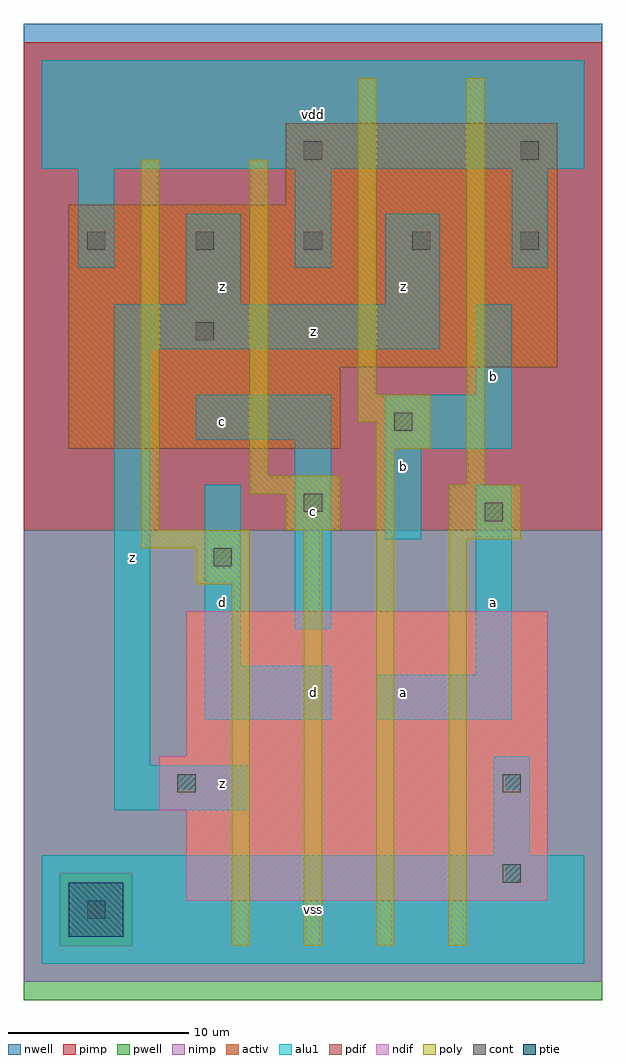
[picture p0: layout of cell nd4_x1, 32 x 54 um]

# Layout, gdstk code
import gdstk
lib = gdstk.Library(unit=1e-6, precision=1e-09)
def R(c, l, rs):  # rectangles x0, y0, x1, y1
    for r in rs: c.add(gdstk.rectangle(r[:2], r[2:], *l))
def A(c, l, x, y, w, h, nx, ny, dx, dy):  # array of equal rectangles
    R(c, l, [(x+i*dx, y+j*dy, x+i*dx+w, y+j*dy+h) for i in range(nx) for j in range(ny)])
ndif = (3, 0)
pdif = (4, 0)
ptie = (6, 0)
cont = (25, 0)
pwell = (41, 0)
nwell = (42, 0)
activ = (43, 0)
pimp = (44, 0)
nimp = (45, 0)
poly = (46, 0)
alu1 = (49, 0)

nd4_x1 = lib.new_cell('nd4_x1')
R(nd4_x1, ndif, [(8,3.5,28,8.5), (6.5,8.5,28,11.5), (8,11.5,28,19.5)])
R(nd4_x1, pdif, [(1.5,28.5,16.5,33), (1.5,33,28.5,42), (13.5,42,28.5,46.5)])
R(nd4_x1, ptie, [(1.5,1.5,4.5,4.5)])
A(nd4_x1, cont, 2.5, 39.5, 1, 1, 5, 1, 6, 0)
R(nd4_x1, cont, [(2.5,2.5,3.5,3.5), (25.5,4.5,26.5,5.5), (7.5,9.5,8.5,10.5), (25.5,9.5,26.5,10.5), (9.5,22,10.5,23), (24.5,24.5,25.5,25.5), (14.5,25,15.5,26), (19.5,29.5,20.5,30.5), (8.5,34.5,9.5,35.5), (14.5,44.5,15.5,45.5), (26.5,44.5,27.5,45.5)])
R(nd4_x1, pwell, [(-1,-2,31,24)])
R(nd4_x1, nwell, [(-1,24,31,52)])
R(nd4_x1, activ, [(1.5,1.5,4.5,4.5), (8,3.5,28,8.5), (6.5,8.5,28,11.5), (8,11.5,28,19.5), (1.5,28.5,16.5,33), (1.5,33,28.5,42), (13.5,42,28.5,46.5)])
R(nd4_x1, pimp, [(1,1,5,5), (-1,24,31,51)])
R(nd4_x1, nimp, [(-1,-1,31,1), (-1,1,1,5), (5,1,31,5), (-1,5,31,24)])
R(nd4_x1, poly, [(10.5,1,11.5,21), (14.5,1,15.5,24), (18.5,1,19.5,28.5), (22.5,1,23.5,23.5), (8.5,21,11.5,23), (5.5,23,11.5,24), (22.5,23.5,26.5,26.5), (5.5,24,6.5,44.5), (13.5,24,16.5,26), (11.5,26,16.5,27), (23.5,26.5,24.5,49), (11.5,27,12.5,44.5), (18.5,28.5,21.5,30), (17.5,30,21.5,31.5), (17.5,31.5,18.5,49)])
A(nd4_x1, alu1, 2, 38.5, 2, 5.5, 3, 1, 12, 0)
R(nd4_x1, alu1, [(0,0,30,6), (25,6,27,11.5), (4,8.5,11.5,11), (4,11,6,34), (9,13.5,16,16.5), (18.5,13.5,26,16), (24,16,26,26.5), (9,16.5,11,26.5), (14,18.5,16,29), (19,23.5,21,28.5), (19,28.5,26,31.5), (8.5,29,16,31.5), (24,31.5,26,36.5), (4,34,22,36.5), (8,36.5,11,41.5), (19,36.5,22,41.5), (0,44,30,50)])
nd4_x1.add(gdstk.Label('z', (10,10), layer=49, texttype=0))
nd4_x1.add(gdstk.Label('d', (10,20), layer=49, texttype=0))
nd4_x1.add(gdstk.Label('z', (5,22.5), layer=49, texttype=0))
nd4_x1.add(gdstk.Label('c', (10,30), layer=49, texttype=0))
nd4_x1.add(gdstk.Label('z', (10,37.5), layer=49, texttype=0))
nd4_x1.add(gdstk.Label('vss', (15,3), layer=49, texttype=0))
nd4_x1.add(gdstk.Label('d', (15,15), layer=49, texttype=0))
nd4_x1.add(gdstk.Label('c', (15,25), layer=49, texttype=0))
nd4_x1.add(gdstk.Label('z', (15,35), layer=49, texttype=0))
nd4_x1.add(gdstk.Label('vdd', (15,47), layer=49, texttype=0))
nd4_x1.add(gdstk.Label('a', (20,15), layer=49, texttype=0))
nd4_x1.add(gdstk.Label('b', (20,27.5), layer=49, texttype=0))
nd4_x1.add(gdstk.Label('z', (20,37.5), layer=49, texttype=0))
nd4_x1.add(gdstk.Label('a', (25,20), layer=49, texttype=0))
nd4_x1.add(gdstk.Label('b', (25,32.5), layer=49, texttype=0))

lib.write_gds('nd4_x1.gds')
